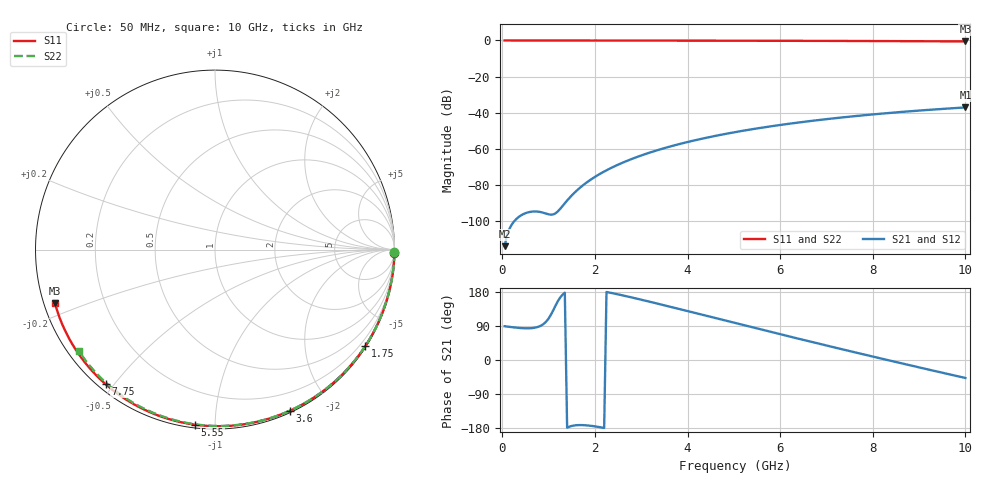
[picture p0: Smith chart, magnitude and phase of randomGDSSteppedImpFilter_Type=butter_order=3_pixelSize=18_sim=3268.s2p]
! freq	dB(S11)	phase(S11)	dB(S12)	phase(S12)
!  dB(S21)	phase(S21)	dB(S22)	phase(S22)
!S-par simulation data
#  GHz  S  DB  R 50
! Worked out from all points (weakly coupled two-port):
!   200 points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, 50 MHz to 10 GHz, reference 50 ohm
!   highest |S21| = -37.11 dB at 10 GHz (marker M1); lowest = -114.0 dB at 50 MHz (marker M2)
!   lowest |S11| = -0.5 dB at 10 GHz (marker M3), VSWR 32.57, Z = 1.58 - j8.09 ohm
!   |S11| at or under -10 dB: nowhere
!   |S22| runs from -0.5 to 0.0 dB; largest |S21 - S12| = 0
!   S11 on the Smith chart (normalised r, x): 50 MHz: open; 1.75 GHz: 0.03, -3.42; 3.6 GHz: 0.02, -1.57; 5.55 GHz: 0.02, -0.89; 7.75 GHz: 0.02, -0.48; 10 GHz: 0.03, -0.16
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0.05  -0.00 -1.0  -113.96 89.2  -113.96 89.2  -0.00 -0.8
0.45  -0.01 -8.5  -96.26 83.9  -96.26 83.9  -0.01 -7.4
0.85  -0.02 -16.0  -95.20 91.7  -95.20 91.7  -0.02 -14.0
1.3  -0.03 -24.4  -91.75 172.1  -91.75 172.1  -0.03 -21.2
1.75  -0.04 -32.6  -80.07 -171.9  -80.07 -171.9  -0.04 -28.4
1.95  -0.05 -36.2  -76.41 -174.3  -76.41 -174.3  -0.04 -31.6
2.1  -0.05 -38.9  -74.04 -177.1  -74.04 -177.1  -0.04 -34.0
2.45  -0.06 -45.2  -69.40 174.5  -69.40 174.5  -0.05 -39.5
2.65  -0.06 -48.7  -67.15 169.1  -67.15 169.1  -0.05 -42.6
2.9  -0.07 -53.1  -64.64 162.1  -64.64 162.1  -0.06 -46.5
3.4  -0.08 -61.7  -60.40 147.3  -60.40 147.3  -0.07 -54.1
3.6  -0.09 -65.1  -58.92 141.3  -58.92 141.3  -0.08 -57.1
4.3  -0.11 -76.7  -54.49 119.9  -54.49 119.9  -0.09 -67.4
5.05  -0.14 -88.7  -50.68 97.0  -50.68 97.0  -0.12 -78.2
5.55  -0.16 -96.5  -48.54 81.7  -48.54 81.7  -0.14 -85.2
6.1  -0.19 -104.9  -46.46 65.1  -46.46 65.1  -0.16 -92.7
6.7  -0.22 -113.8  -44.48 47.1  -44.48 47.1  -0.19 -100.7
7.2  -0.26 -121.2  -43.02 32.4  -43.02 32.4  -0.23 -107.3
7.75  -0.30 -129.1  -41.58 16.3  -41.58 16.3  -0.26 -114.5
8.35  -0.35 -137.8  -40.18 -1.0  -40.18 -1.0  -0.31 -122.1
9.2  -0.44 -150.0  -38.47 -25.1  -38.47 -25.1  -0.39 -133.0
10  -0.53 -161.6  -37.11 -47.5  -37.11 -47.5  -0.48 -143.2
